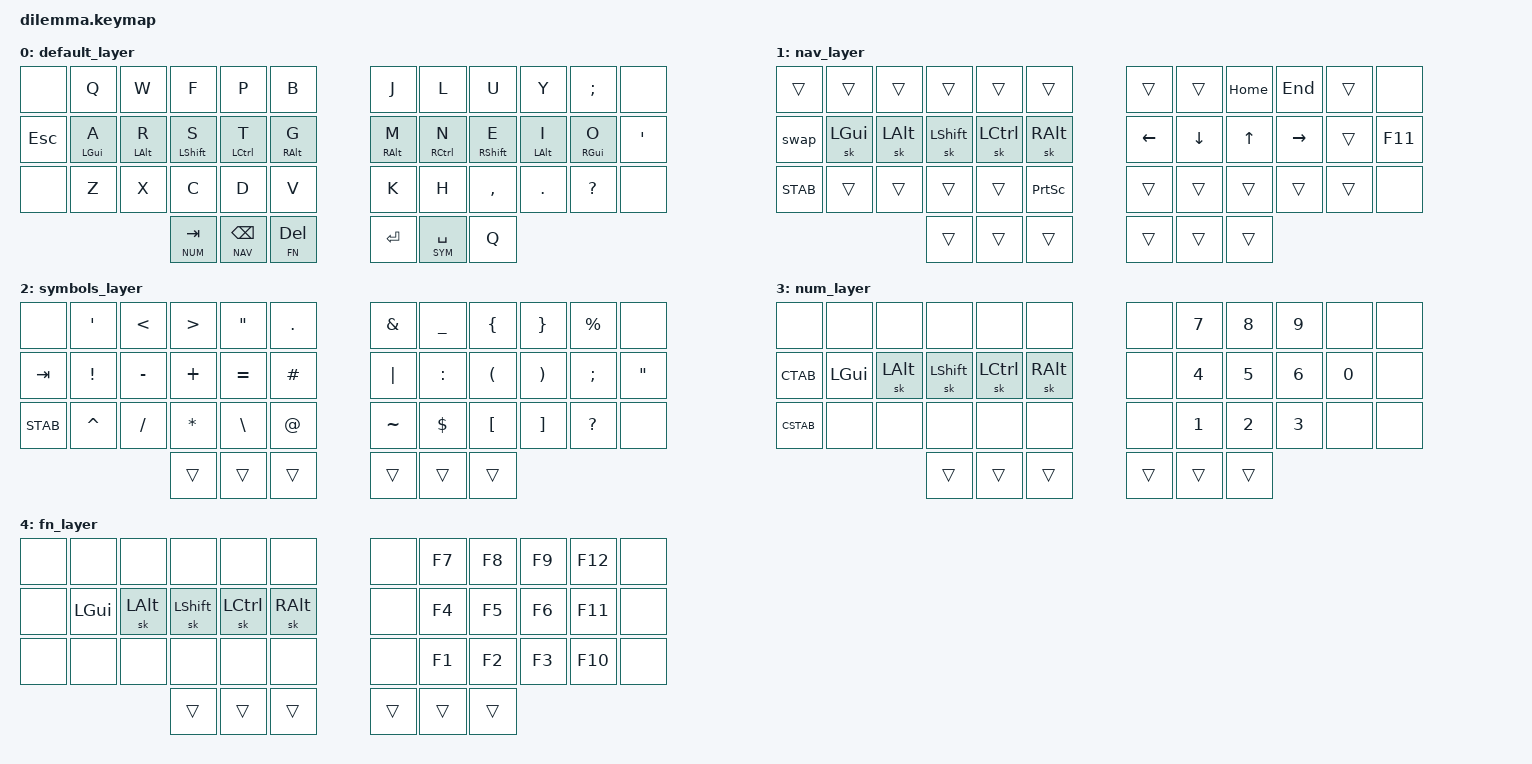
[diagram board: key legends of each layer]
/*
 * Copyright (c) 2020 The ZMK Contributors
 *
 * SPDX-License-Identifier: MIT
 */

#include <behaviors.dtsi>
#include <dt-bindings/zmk/keys.h>
#include <dt-bindings/zmk/bt.h>

#define BASE 0
#define NAV 1
#define SYM 2
#define NUM 3
#define FN 4

#define STAB (LS(TAB))
#define CTAB (LC(TAB))
#define CSTAB (LC(LS(TAB)))

&lt {
  quick-tap-ms = <125>;
};

/ {

  chosen {
    zmk,battery = &vbatt;
  };

  vbatt: vbatt {
      compatible = "zmk,battery-nrf-vddh";
      label = "VBATT";
  };

  behaviors {
        swap: swapper {
            compatible = "zmk,behavior-tri-state";
            label = "SWAPPER";
            #binding-cells = <0>;
            bindings = <&kt LALT>, <&kp TAB>, <&kt LALT>;
            ignored-key-positions = <24>;
        };
        hm: homerow_mods {
            compatible = "zmk,behavior-hold-tap";
            label = "HOMEROW_MODS";
            #binding-cells = <2>;
            tapping-term-ms = <300>;
            quick_tap_ms = <0>;
            flavor = "tap-preferred";
            bindings = <&kp>, <&kp>;
        };
  };

  keymap {
    compatible = "zmk,keymap";

    default_layer {
      bindings = <
      &none     &kp Q      &kp W      &kp F        &kp P        &kp B                     &kp J      &kp L       &kp U       &kp Y      &kp SEMI   &none
      &kp ESC   &hm LGUI A &hm LALT R &hm LSHFT S  &hm LCTRL T  &hm RALT G                &hm RALT M &hm RCTRL N &hm RSHFT E &hm LALT I &hm RGUI O &kp APOS
      &none     &kp Z      &kp X      &kp C        &kp D        &kp V                     &kp K      &kp H       &kp COMMA   &kp DOT    &kp QMARK  &none
                                      &lt NUM TAB  &lt NAV BSPC &lt FN DEL                &kp ENTER  &lt SYM SPACE &kp Q
      >;
    };

    nav_layer {
      bindings = <
      &trans    &trans     &trans     &trans       &trans       &trans                    &trans     &trans      &kp HOME    &kp END    &trans     &none
      &swap     &sk LGUI   &sk LALT   &sk LSHFT    &sk LCTRL    &sk RALT                  &kp LEFT   &kp DOWN    &kp UP      &kp RIGHT  &trans     &kp F11
      &kp STAB  &trans     &trans     &trans       &trans       &kp PSCRN                 &trans     &trans      &trans      &trans     &trans     &none 
                                      &trans       &trans       &trans                    &trans     &trans      &trans  
      >;
    };

   symbols_layer {
      bindings = <
      &none     &kp APOS   &kp LT     &kp GT       &kp DQT      &kp DOT                   &kp AMPS   &kp UNDER   &kp LBRC    &kp RBRC   &kp PRCNT  &none
      &kp TAB   &kp EXCL   &kp MINUS  &kp PLUS     &kp EQUAL    &kp HASH                  &kp PIPE   &kp COLON   &kp LPAR    &kp RPAR   &kp SEMI   &kp DQT
      &kp STAB  &kp CARET  &kp FSLH   &kp STAR     &kp BSLH     &kp AT                    &kp TILDE  &kp DLLR    &kp LBKT    &kp RBKT   &kp QMARK  &none
                                      &trans       &trans       &trans                    &trans     &trans      &trans
      >;
    };

    num_layer {
      bindings = <
      &none     &none      &none      &none        &none        &none                     &none      &kp N7      &kp N8      &kp N9     &none      &none
      &kp CTAB  &kp LGUI   &sk LALT   &sk LSHFT    &sk LCTRL    &sk RALT                  &none      &kp N4      &kp N5      &kp N6     &kp N0     &none
      &kp CSTAB &none      &none      &none        &none        &none                     &none      &kp N1      &kp N2      &kp N3     &none      &none 
                                      &trans       &trans       &trans                    &trans     &trans      &trans
      >;
    };

    fn_layer {
      bindings = <
      &none     &none      &none      &none        &none        &none                     &none      &kp F7      &kp F8      &kp F9     &kp F12    &none
      &none     &kp LGUI   &sk LALT   &sk LSHFT    &sk LCTRL    &sk RALT                  &none      &kp F4      &kp F5      &kp F6     &kp F11    &none
      &none     &none      &none      &none        &none        &none                     &none      &kp F1      &kp F2      &kp F3     &kp F10    &none 
                                      &trans       &trans       &trans                    &trans     &trans      &trans
      >;
    };
  };
};
